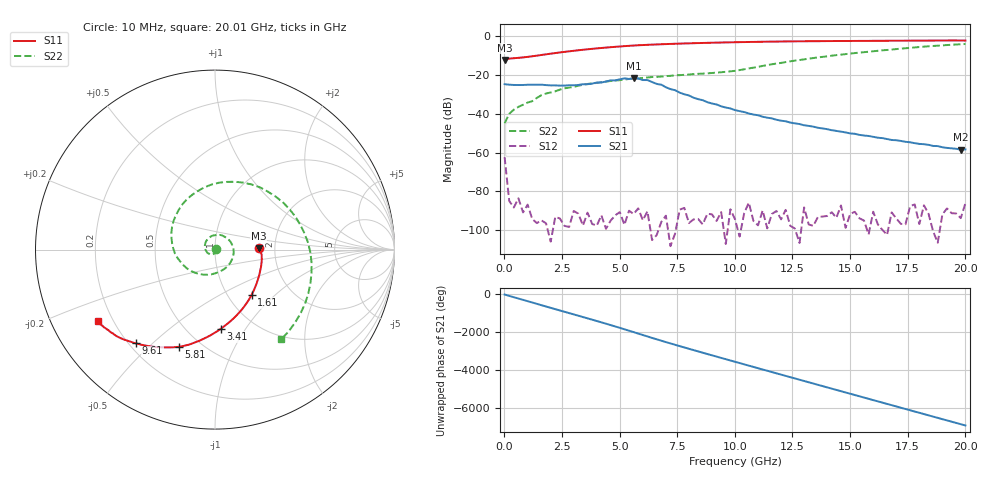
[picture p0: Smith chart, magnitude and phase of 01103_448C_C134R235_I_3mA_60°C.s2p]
!;Filter: kein Filter
!auto
!3/21/2019 9:27:07 AM
!3/21/2019 9:27:22 AM
!SP-Measurements Prober G4
!SP-Measurements Prober G4
!01103_448C
!134
!235
!12
!60
!-20
!0.00299959
!1.83
!0.38139174
!0.38139174
# Hz S  RI  R 50
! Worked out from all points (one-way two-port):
!   101 points, 10 MHz to 20.01 GHz, reference 50 ohm
!   highest |S21| = -21.72 dB at 5.61 GHz (marker M1); lowest = -58.5 dB at 19.81 GHz (marker M2)
!   lowest |S11| = -12.3 dB at 10 MHz (marker M3), VSWR 1.64, Z = 82.1 + j1.22 ohm
!   |S11| at or under -10 dB: start of sweep to 1.479 GHz
!   |S22| runs from -44.9 to -4.1 dB; largest |S21 - S12| = 0.082
!   S11 on the Smith chart (normalised r, x): 10 MHz: 1.64, +0.02; 1.61 GHz: 1.28, -0.72; 3.41 GHz: 0.71, -0.78; 5.81 GHz: 0.38, -0.62; 9.61 GHz: 0.23, -0.44; 20.01 GHz: 0.14, -0.28
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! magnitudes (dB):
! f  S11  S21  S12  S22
! 10 MHz  -12.3  -24.8  -62.3  -44.9
! 210 MHz  -11.6  -25.1  -84.9  -40.0
! 610 MHz  -11.2  -25.2  -83.6  -36.5
! 1.21 GHz  -10.4  -25.1  -94.2  -33.5
! 1.61 GHz  -9.8  -25.1  -94.9  -30.5
! 2.61 GHz  -8.2  -25.5  -97.8  -26.9
! 3.41 GHz  -7.1  -24.8  -97.5  -25.1
! 4.21 GHz  -6.2  -23.9  -92.3  -23.8
! 5.21 GHz  -5.2  -21.8  -97.2  -22.4
! 5.61 GHz  -4.9  -21.7  -91.6  -22.0
! 5.81 GHz  -4.8  -21.9  -88.7  -21.9
! 6.21 GHz  -4.5  -22.7  -90.3  -21.3
! 6.61 GHz  -4.3  -24.7  -102.5  -21.0
! 6.81 GHz  -4.3  -25.1  -95.7  -20.9
! 8.21 GHz  -3.7  -31.8  -94.4  -19.6
! 9.61 GHz  -3.3  -36.8  -107.1  -18.4
! 10.01 GHz  -3.2  -38.1  -94.3  -17.9
! 11.81 GHz  -2.9  -43.1  -90.1  -14.2
! 13.41 GHz  -2.7  -46.7  -97.8  -11.3
! 16.81 GHz  -2.4  -53.5  -90.8  -7.0
! 19.81 GHz  -2.3  -58.5  -93.8  -4.3
! 20.01 GHz  -2.3  -58.4  -86.1  -4.1
